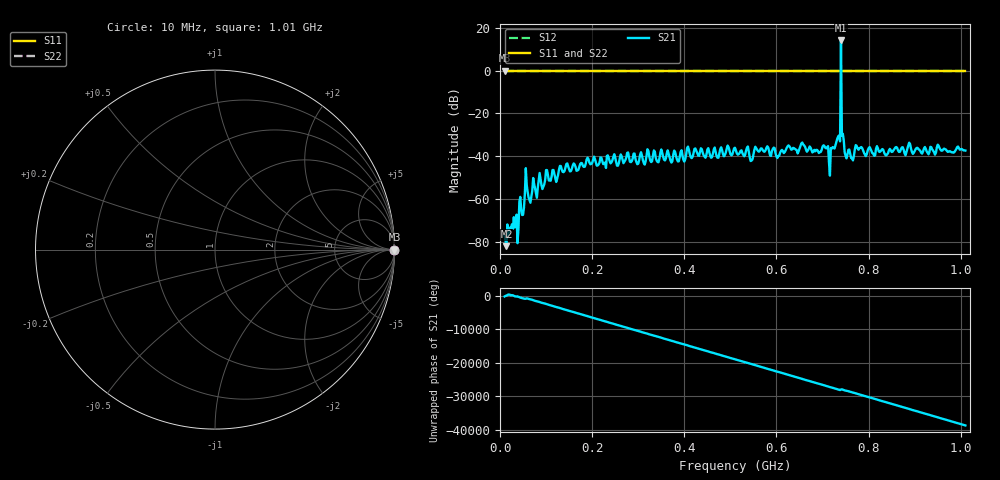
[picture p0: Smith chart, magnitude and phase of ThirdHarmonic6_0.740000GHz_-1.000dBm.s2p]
! 8/16/2025 12:46:25 AM
! C:\ANRITSUVNA\TEMP\TEMP.S2P
! CHANNEL.1
! TR.MEASUREMENT
! RAW.DATA
! RF.CORRECTION.OFF
! AVERAGING.OFF
! IF.BANDWIDTH: 5KHZ
! SWEEPTYPE:  FREQ.SWEEP(Linear)
! Reference Plane Port Info
! PORT:  PORT1  PORT2
! DISTANCE:  0  m  0  m
! TIME:  0  s  0  s
! PHASE.OFFSET:  0  deg.  0  deg.
! LOSS:  0  dB  0  dB
! REF.LOSS:  0  dB  0  dB
! REF.FREQ:  0  Hz  0  Hz
! Power Info
! POWER:  -20  dBm  -20  dBm
! EFF.POWER:  -20  dBm  -20  dBm
! SOURCE.ATTEN:  0  dB  0  dB
! TEST.ATTEN:  0  dB  0  dB
# GHZ S RI R 50.0
! FREQ.GHZ  S11RE  S11IM  S21RE  S21IM  S12RE  S12IM  S22RE  S22IM
!; PortSelection: Port_12
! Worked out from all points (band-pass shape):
!   501 points, 10 MHz to 1.01 GHz, reference 50 ohm
!   highest |S21| = 14.08 dB at 740 MHz (marker M1); lowest = -82.0 dB at 14 MHz (marker M2)
!   |S21| within 3 dB of the highest: 739.8727 MHz to 740.1349 MHz (262.2 kHz wide, 0.0354 % of centre)
!   lowest |S11| = 0.0 dB at 10 MHz (marker M3)
!   |S11| at or under -10 dB: nowhere
!   |S22| runs from 0.0 to 0.0 dB; largest |S21 - S12| = 4.4
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0.01  1 0  -0.000134 -4.38e-05  1 0  1 0
0.014  1 0  1.32e-05 7.82e-05  1 0  1 0
0.036  1 0  -0.000432 2.64e-05  1 0  1 0
0.058  1 0  0.0021 0.000394  1 0  1 0
0.066  1 0  0.000568 0.000591  1 0  1 0
0.102  1 0  0.00472 0.000435  1 0  1 0
0.178  1 0  -0.00659 0.00184  1 0  1 0
0.344  1 0  0.0056 -0.00456  1 0  1 0
0.51  1 0  -0.0017 0.0157  1 0  1 0
0.546  1 0  -0.0013 0.00784  1 0  1 0
0.556  1 0  0.00928 0.0123  1 0  1 0
0.678  1 0  -0.0119 0.00295  1 0  1 0
0.708  1 0  0.0113 0.0103  1 0  1 0
0.718  1 0  0.0155 0.00101  1 0  1 0
0.734  1 0  0.00687 0.0284  1 0  1 0
0.736  1 0  0.0284 -0.0114  1 0  1 0
0.74  1 0  3.619 3.532  1 0  1 0
0.744  1 0  0.0331 -0.00515  1 0  1 0
0.746  1 0  -0.011 -0.0207  1 0  1 0
0.752  1 0  0.0063 0.00629  1 0  1 0
0.844  1 0  0.0113 -0.00767  1 0  1 0
1.01  1 0  -0.000803 0.0135  1 0  1 0
